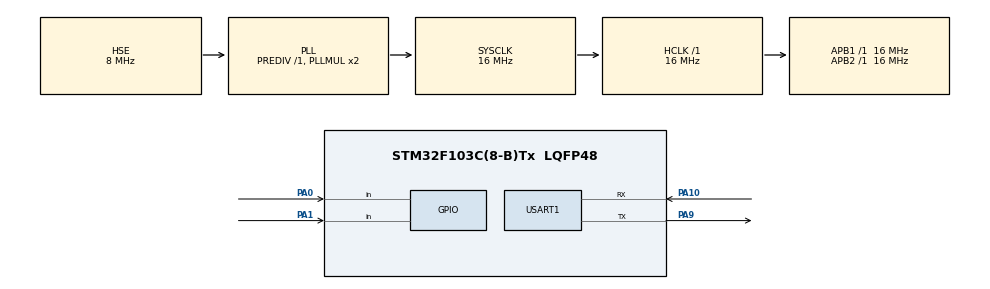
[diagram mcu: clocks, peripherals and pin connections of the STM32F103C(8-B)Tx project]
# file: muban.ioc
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FREERTOS.Tasks01=TaskSend,0,128,StartTaskSend,Default,NULL,Dynamic,NULL,NULL;TaskReceive,0,128,StartTaskReceive,Default,NULL,Dynamic,NULL,NULL
Mcu.Family=STM32F1
Mcu.Name=STM32F103C(8-B)Tx
Mcu.Package=LQFP48
NVIC.PriorityGroup=NVIC_PRIORITYGROUP_4
NVIC.TIM2_IRQn=true\:15\:0\:false\:false\:true\:false\:false\:true\:true
NVIC.TimeBase=TIM2_IRQn
NVIC.TimeBaseIP=TIM2
PA0-WKUP.GPIO_PuPd=GPIO_PULLUP
PA0-WKUP.Signal=GPIO_Input
PA1.GPIO_PuPd=GPIO_PULLUP
PA1.Signal=GPIO_Input
PA10.Mode=Asynchronous
PA10.Signal=USART1_RX
PA13.Mode=Serial_Wire
PA13.Signal=SYS_JTMS-SWDIO
PA14.Mode=Serial_Wire
PA14.Signal=SYS_JTCK-SWCLK
PA9.Mode=Asynchronous
PA9.Signal=USART1_TX
PD0-OSC_IN.Mode=HSE-External-Oscillator
PD0-OSC_IN.Signal=RCC_OSC_IN
PD1-OSC_OUT.Mode=HSE-External-Oscillator
PD1-OSC_OUT.Signal=RCC_OSC_OUT
ProjectManager.HeapSize=0x200
ProjectManager.StackSize=0x400
ProjectManager.TargetToolchain=MDK-ARM V5.32
RCC.AHBFreq_Value=16000000
RCC.APB1Freq_Value=16000000
RCC.APB1TimFreq_Value=16000000
RCC.APB2Freq_Value=16000000
RCC.APB2TimFreq_Value=16000000
RCC.HCLKFreq_Value=16000000
RCC.PLLSourceVirtual=RCC_PLLSOURCE_HSE
RCC.SYSCLKFreq_VALUE=16000000
RCC.SYSCLKSource=RCC_SYSCLKSOURCE_PLLCLK
RCC.USBFreq_Value=16000000
USART1.VirtualMode=VM_ASYNC
VP_FREERTOS_VS_CMSIS_V1.Mode=CMSIS_V1
VP_SYS_VS_tim2.Mode=TIM2
board=custom

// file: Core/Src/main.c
/* USER CODE BEGIN Header */
/**
  ******************************************************************************
  * @file           : main.c
  * @brief          : Main program body
  ******************************************************************************
  * @attention
  *
  * Copyright (c) 2024 STMicroelectronics.
  * All rights reserved.
  *
  * This software is licensed under terms that can be found in the LICENSE file
  * in the root directory of this software component.
  * If no LICENSE file comes with this software, it is provided AS-IS.
  *
  ******************************************************************************
  */
/* USER CODE END Header */
#include "main.h"
#include "cmsis_os.h"
#include "usart.h"
#include "gpio.h"

void SystemClock_Config(void);
void MX_FREERTOS_Init(void);

int main(void)
{

  /* MCU Configuration--------------------------------------------------------*/

  /* Reset of all peripherals, Initializes the Flash interface and the Systick. */
  HAL_Init();

  /* Configure the system clock */
  SystemClock_Config();

  /* Initialize all configured peripherals */
  MX_GPIO_Init();
  MX_USART1_UART_Init();
  /* USER CODE BEGIN 2 */
  printf("hello wang\r\n");
  /* USER CODE END 2 */

  /* Call init function for freertos objects (in freertos.c) */
  MX_FREERTOS_Init();

  /* Start scheduler */
  osKernelStart();

  /* We should never get here as control is now taken by the scheduler */
  /* Infinite loop */
  while (1)
  {

  }
}

void SystemClock_Config(void)
{
  RCC_OscInitTypeDef RCC_OscInitStruct = {0};
  RCC_ClkInitTypeDef RCC_ClkInitStruct = {0};

  /** Initializes the RCC Oscillators according to the specified parameters
  * in the RCC_OscInitTypeDef structure.
  */
  RCC_OscInitStruct.OscillatorType = RCC_OSCILLATORTYPE_HSE;
  RCC_OscInitStruct.HSEState = RCC_HSE_ON;
  RCC_OscInitStruct.HSEPredivValue = RCC_HSE_PREDIV_DIV1;
  RCC_OscInitStruct.HSIState = RCC_HSI_ON;
  RCC_OscInitStruct.PLL.PLLState = RCC_PLL_ON;
  RCC_OscInitStruct.PLL.PLLSource = RCC_PLLSOURCE_HSE;
  RCC_OscInitStruct.PLL.PLLMUL = RCC_PLL_MUL2;
  if (HAL_RCC_OscConfig(&RCC_OscInitStruct) != HAL_OK)
  {
    Error_Handler();
  }

  /** Initializes the CPU, AHB and APB buses clocks
  */
  RCC_ClkInitStruct.ClockType = RCC_CLOCKTYPE_HCLK|RCC_CLOCKTYPE_SYSCLK
                              |RCC_CLOCKTYPE_PCLK1|RCC_CLOCKTYPE_PCLK2;
  RCC_ClkInitStruct.SYSCLKSource = RCC_SYSCLKSOURCE_PLLCLK;
  RCC_ClkInitStruct.AHBCLKDivider = RCC_SYSCLK_DIV1;
  RCC_ClkInitStruct.APB1CLKDivider = RCC_HCLK_DIV1;
  RCC_ClkInitStruct.APB2CLKDivider = RCC_HCLK_DIV1;

  if (HAL_RCC_ClockConfig(&RCC_ClkInitStruct, FLASH_LATENCY_0) != HAL_OK)
  {
    Error_Handler();
  }
}

void HAL_TIM_PeriodElapsedCallback(TIM_HandleTypeDef *htim)
{
  if (htim->Instance == TIM2) {
    HAL_IncTick();
  }
}

void Error_Handler(void)
{
  __disable_irq();
  while (1)
  {
  }
}

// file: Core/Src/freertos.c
/* USER CODE BEGIN Header */
/**
  ******************************************************************************
  * File Name          : freertos.c
  * Description        : Code for freertos applications
  ******************************************************************************
  * @attention
  *
  * Copyright (c) 2023 STMicroelectronics.
  * All rights reserved.
  *
  * This software is licensed under terms that can be found in the LICENSE file
  * in the root directory of this software component.
  * If no LICENSE file comes with this software, it is provided AS-IS.
  *
  ******************************************************************************
  */
/* USER CODE END Header */

#include "FreeRTOS.h"
#include "task.h"
#include "main.h"
#include "cmsis_os.h"

/* USER CODE BEGIN Includes */
#include "stdio.h"
/* USER CODE END Includes */

osThreadId TaskSendHandle;
osThreadId TaskReceiveHandle;

void StartTaskSend(void const * argument);
void StartTaskReceive(void const * argument);

void MX_FREERTOS_Init(void); /* (MISRA C 2004 rule 8.1) */

/* GetIdleTaskMemory prototype (linked to static allocation support) */
void vApplicationGetIdleTaskMemory( StaticTask_t **ppxIdleTaskTCBBuffer, StackType_t **ppxIdleTaskStackBuffer, uint32_t *pulIdleTaskStackSize );

/* USER CODE BEGIN GET_IDLE_TASK_MEMORY */
static StaticTask_t xIdleTaskTCBBuffer;
static StackType_t xIdleStack[configMINIMAL_STACK_SIZE];

void vApplicationGetIdleTaskMemory( StaticTask_t **ppxIdleTaskTCBBuffer, StackType_t **ppxIdleTaskStackBuffer, uint32_t *pulIdleTaskStackSize )
{
  *ppxIdleTaskTCBBuffer = &xIdleTaskTCBBuffer;
  *ppxIdleTaskStackBuffer = &xIdleStack[0];
  *pulIdleTaskStackSize = configMINIMAL_STACK_SIZE;
  /* place for user code */
}
/* USER CODE END GET_IDLE_TASK_MEMORY */

void MX_FREERTOS_Init(void) {

  /* Create the thread(s) */
  /* definition and creation of TaskSend */
  osThreadDef(TaskSend, StartTaskSend, osPriorityNormal, 0, 128);
  TaskSendHandle = osThreadCreate(osThread(TaskSend), NULL);

  /* definition and creation of TaskReceive */
  osThreadDef(TaskReceive, StartTaskReceive, osPriorityNormal, 0, 128);
  TaskReceiveHandle = osThreadCreate(osThread(TaskReceive), NULL);

}

void StartTaskSend(void const * argument)
{
  /* USER CODE BEGIN StartTaskSend */
  /* Infinite loop */
  for(;;)
  {
		if (HAL_GPIO_ReadPin(GPIOA, GPIO_PIN_0) == GPIO_PIN_RESET)
		{
			osDelay(20);
			if (HAL_GPIO_ReadPin(GPIOA, GPIO_PIN_0) == GPIO_PIN_RESET)
			{
				xTaskNotifyGive(TaskReceiveHandle);
				printf("任务通知：模拟计数型信号量发送成功！\r\n");
			}
			while (HAL_GPIO_ReadPin(GPIOA, GPIO_PIN_0) == GPIO_PIN_RESET);
		}
    osDelay(10);
  }
  /* USER CODE END StartTaskSend */
}

void StartTaskReceive(void const * argument)
{
  /* USER CODE BEGIN StartTaskReceive */
	uint32_t rev = 0;
  /* Infinite loop */
  for(;;)
  {
		if (HAL_GPIO_ReadPin(GPIOA, GPIO_PIN_1) == GPIO_PIN_RESET)
		{
			osDelay(20);
			if (HAL_GPIO_ReadPin(GPIOA, GPIO_PIN_1) == GPIO_PIN_RESET)
			{
				rev = ulTaskNotifyTake(pdFALSE, portMAX_DELAY);
				if (rev != 0)
					printf("任务通知：模拟计数型信号量接收成功！rev = %d \r\n", rev);
			}
			while (HAL_GPIO_ReadPin(GPIOA, GPIO_PIN_1) == GPIO_PIN_RESET);
		}
    osDelay(1);
  }
  /* USER CODE END StartTaskReceive */
}
